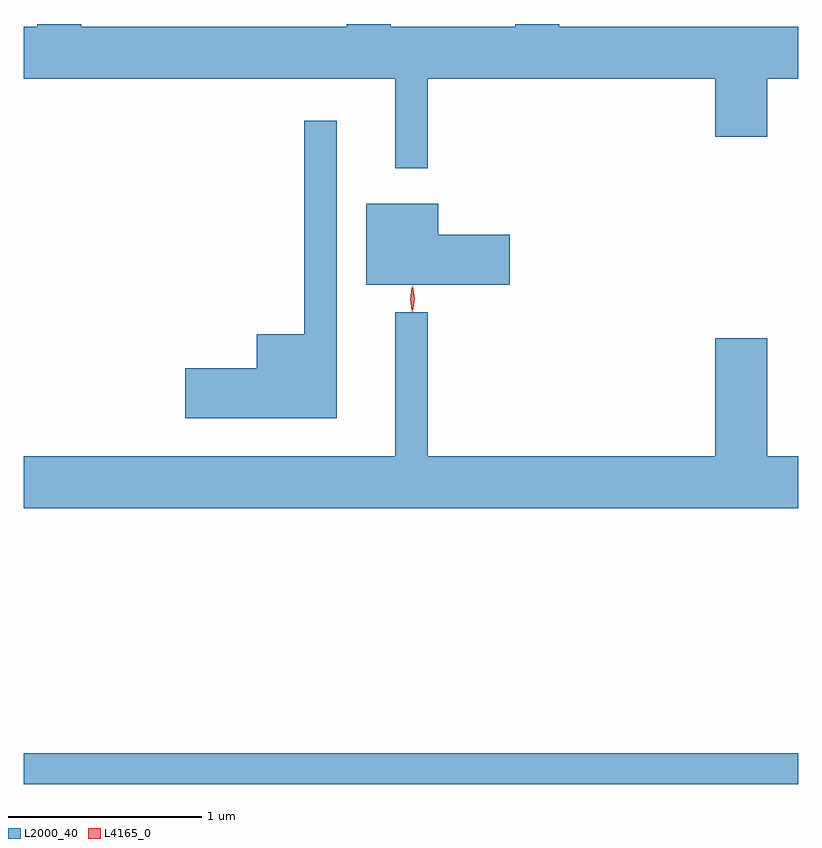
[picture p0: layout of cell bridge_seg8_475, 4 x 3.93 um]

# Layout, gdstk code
import gdstk
lib = gdstk.Library(unit=1e-6, precision=1e-09)
def R(c, l, rs):  # rectangles x0, y0, x1, y1
    for r in rs: c.add(gdstk.rectangle(r[:2], r[2:], *l))
def P(c, l, *ps):  # polygons
    for p in ps: c.add(gdstk.Polygon(p, *l))
L2000_40 = (2000, 40)
L4165_0 = (4165, 0)

bridge_seg8_475 = lib.new_cell('bridge_seg8_475')
R(bridge_seg8_475, L2000_40, [(431.283,1917.131,435.283,1917.289)])
P(bridge_seg8_475, L2000_40, [(433.369,1920.776),(434.856,1920.776),(434.856,1920.476),(435.124,1920.476),(435.124,1920.776),(435.283,1920.776),(435.283,1921.044),(434.049,1921.044),(434.049,1921.058),(433.821,1921.058),(433.821,1921.044),(433.179,1921.044),(433.179,1921.058),(432.951,1921.058),(432.951,1921.044),(431.579,1921.044),(431.579,1921.058),(431.351,1921.058),(431.351,1921.044),(431.283,1921.044),(431.283,1920.776),(433.201,1920.776),(433.201,1920.313),(433.369,1920.313)],
  [(432.899,1920.558),(432.731,1920.558),(432.731,1919.454),(432.486,1919.454),(432.486,1919.279),(432.116,1919.279),(432.116,1919.021),(432.899,1919.021)],
  [(433.794,1919.969),(433.424,1919.969),(433.424,1920.129),(433.051,1920.129),(433.051,1919.711),(433.794,1919.711)],
  [(435.283,1918.824),(435.124,1918.824),(435.124,1919.434),(434.856,1919.434),(434.856,1918.824),(433.369,1918.824),(433.369,1919.568),(433.201,1919.568),(433.201,1918.824),(431.283,1918.824),(431.283,1918.556),(435.283,1918.556)])
P(bridge_seg8_475, L4165_0, [(433.293,1919.569),(433.292,1919.57),(433.283,1919.638),(433.292,1919.705),(433.293,1919.706),(433.293,1919.705),(433.303,1919.638),(433.293,1919.57)],
  [(433.287,1919.573),(433.278,1919.636),(433.287,1919.699),(433.288,1919.7),(433.288,1919.699),(433.298,1919.636),(433.288,1919.573),(433.288,1919.573)])

lib.write_gds('bridge_seg8_475.gds')
